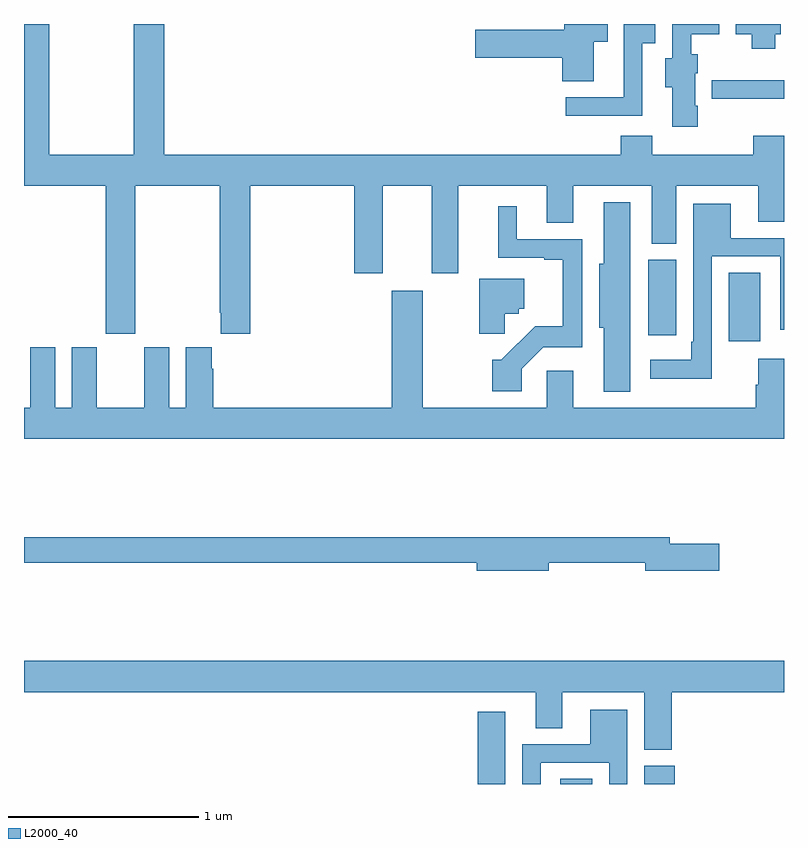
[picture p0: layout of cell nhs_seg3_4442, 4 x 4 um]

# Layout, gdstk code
import gdstk
lib = gdstk.Library(unit=1e-6, precision=1e-09)
def R(c, l, rs):  # rectangles x0, y0, x1, y1
    for r in rs: c.add(gdstk.rectangle(r[:2], r[2:], *l))
def P(c, l, *ps):  # polygons
    for p in ps: c.add(gdstk.Polygon(p, *l))
L2000_40 = (2000, 40)

nhs_seg3_4442 = lib.new_cell('nhs_seg3_4442')
R(nhs_seg3_4442, L2000_40, [(349.388,732.4,349.534,732.781), (349.823,732.4,349.99,732.428), (350.264,732.4,350.426,732.495), (350.708,734.73,350.875,735.092), (350.285,734.763,350.434,735.159)])
P(nhs_seg3_4442, L2000_40, [(350.953,736.346),(350.983,736.346),(350.983,736.4),(350.747,736.4),(350.747,736.346),(350.831,736.346),(350.831,736.271),(350.953,736.271)],
  [(349.999,736.307),(350.072,736.307),(350.072,736.4),(349.844,736.4),(349.844,736.37),(349.374,736.37),(349.374,736.223),(349.832,736.223),(349.832,736.099),(349.999,736.099)],
  [(350.253,736.3),(350.323,736.3),(350.323,736.4),(350.157,736.4),(350.157,736.211),(350.156,736.211),(350.156,736.014),(349.851,736.014),(349.851,735.918),(350.253,735.918)],
  [(350.545,735.97),(350.533,735.97),(350.533,736.142),(350.546,736.142),(350.546,736.242),(350.511,736.242),(350.511,736.346),(350.658,736.346),(350.658,736.4),(350.412,736.4),(350.412,736.221),(350.375,736.221),(350.375,736.066),(350.411,736.066),(350.411,735.858),(350.545,735.858)],
  [(350.141,735.712),(347.738,735.712),(347.738,736.4),(347.578,736.4),(347.578,735.712),(347.133,735.712),(347.133,736.4),(347,736.4),(347,735.548),(347.431,735.548),(347.431,734.769),(347.586,734.769),(347.586,735.548),(348.031,735.548),(348.031,734.881),(348.035,734.881),(348.035,734.769),(348.191,734.769),(348.191,735.548),(348.737,735.548),(348.737,735.087),(348.889,735.087),(348.889,735.548),(349.145,735.548),(349.145,735.087),(349.285,735.087),(349.285,735.548),(349.751,735.548),(349.751,735.354),(349.891,735.354),(349.891,735.548),(350.303,735.548),(350.303,735.244),(350.434,735.244),(350.434,735.548),(350.864,735.548),(350.864,735.358),(351,735.358),(351,735.811),(350.837,735.811),(350.837,735.712),(350.306,735.712),(350.306,735.811),(350.141,735.811)],
  [(351,736.104),(350.949,736.104),(350.949,736.105),(350.619,736.105),(350.619,736.007),(351,736.007)],
  [(350.191,735.463),(350.051,735.463),(350.051,735.138),(350.027,735.138),(350.027,734.802),(350.051,734.802),(350.051,734.465),(350.191,734.465)],
  [(350.619,735.177),(350.979,735.177),(350.979,734.79),(351,734.79),(351,735.273),(350.719,735.273),(350.719,735.454),(350.523,735.454),(350.523,734.728),(350.511,734.728),(350.511,734.632),(350.295,734.632),(350.295,734.534),(350.619,734.534)],
  [(349.62,734.586),(349.734,734.7),(349.939,734.7),(349.939,735.267),(349.594,735.267),(349.594,735.442),(349.496,735.442),(349.496,735.171),(349.739,735.171),(349.739,735.159),(349.835,735.159),(349.835,734.81),(349.691,734.81),(349.513,734.632),(349.465,734.632),(349.465,734.466),(349.62,734.466)],
  [(349.529,734.874),(349.605,734.874),(349.605,734.901),(349.633,734.901),(349.633,735.058),(349.397,735.058),(349.397,734.769),(349.529,734.769)],
  [(351,734.638),(350.864,734.638),(350.864,734.501),(350.852,734.501),(350.852,734.38),(349.891,734.38),(349.891,734.575),(349.752,734.575),(349.752,734.38),(349.099,734.38),(349.099,734.995),(348.935,734.995),(348.935,734.38),(347.996,734.38),(347.996,734.585),(347.989,734.585),(347.989,734.698),(347.852,734.698),(347.852,734.38),(347.764,734.38),(347.764,734.698),(347.633,734.698),(347.633,734.38),(347.383,734.38),(347.383,734.698),(347.252,734.698),(347.252,734.38),(347.164,734.38),(347.164,734.698),(347.033,734.698),(347.033,734.38),(347,734.38),(347,734.216),(351,734.216)],
  [(349.762,733.564),(350.27,733.564),(350.27,733.522),(350.659,733.522),(350.659,733.664),(350.398,733.664),(350.398,733.7),(347,733.7),(347,733.564),(349.382,733.564),(349.382,733.522),(349.762,733.522)],
  [(350.408,732.884),(351,732.884),(351,733.048),(347,733.048),(347,732.884),(349.694,732.884),(349.694,732.694),(349.834,732.694),(349.834,732.884),(350.264,732.884),(350.264,732.58),(350.408,732.58)],
  [(349.719,732.513),(350.079,732.513),(350.079,732.4),(350.175,732.4),(350.175,732.79),(349.979,732.79),(349.979,732.609),(349.623,732.609),(349.623,732.4),(349.719,732.4)])

lib.write_gds('nhs_seg3_4442.gds')
